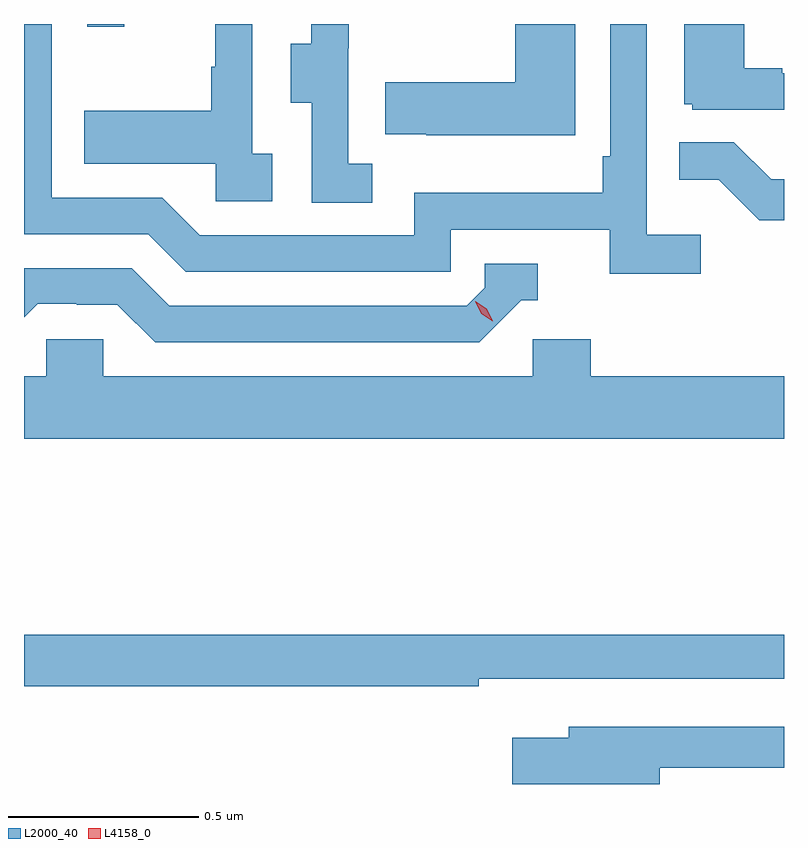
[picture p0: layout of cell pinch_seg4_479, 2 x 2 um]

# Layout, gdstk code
import gdstk
lib = gdstk.Library(unit=1e-6, precision=1e-09)
def R(c, l, rs):  # rectangles x0, y0, x1, y1
    for r in rs: c.add(gdstk.rectangle(r[:2], r[2:], *l))
def P(c, l, *ps):  # polygons
    for p in ps: c.add(gdstk.Polygon(p, *l))
L2000_40 = (2000, 40)
L4158_0 = (4158, 0)

pinch_seg4_479 = lib.new_cell('pinch_seg4_479')
R(pinch_seg4_479, L2000_40, [(897.927,765.936,898.025,765.943)])
P(pinch_seg4_479, L2000_40, [(898.414,765.602),(898.362,765.602),(898.362,765.943),(898.264,765.943),(898.264,765.83),(898.254,765.83),(898.254,765.715),(897.919,765.715),(897.919,765.575),(898.266,765.575),(898.266,765.477),(898.414,765.477)],
  [(899.761,765.813),(899.756,765.813),(899.756,765.826),(899.656,765.826),(899.656,765.943),(899.498,765.943),(899.498,765.732),(899.52,765.732),(899.52,765.717),(899.761,765.717)],
  [(899.212,765.943),(899.054,765.943),(899.054,765.79),(898.711,765.79),(898.711,765.653),(898.819,765.653),(898.819,765.65),(899.212,765.65)],
  [(898.678,765.575),(898.614,765.575),(898.614,765.879),(898.616,765.879),(898.616,765.943),(898.517,765.943),(898.517,765.891),(898.463,765.891),(898.463,765.736),(898.518,765.736),(898.518,765.472),(898.678,765.472)],
  [(899.542,765.388),(899.4,765.388),(899.4,765.943),(899.304,765.943),(899.304,765.595),(899.284,765.595),(899.284,765.499),(898.788,765.499),(898.788,765.387),(898.224,765.387),(898.125,765.486),(897.834,765.486),(897.834,765.943),(897.761,765.943),(897.761,765.39),(898.088,765.39),(898.187,765.291),(898.884,765.291),(898.884,765.402),(899.303,765.402),(899.303,765.286),(899.542,765.286)],
  [(899.761,765.534),(899.727,765.534),(899.629,765.632),(899.485,765.632),(899.485,765.533),(899.589,765.533),(899.696,765.426),(899.761,765.426)],
  [(899.07,765.216),(899.113,765.216),(899.113,765.312),(898.974,765.312),(898.974,765.249),(898.926,765.201),(898.143,765.201),(898.044,765.3),(897.761,765.3),(897.761,765.171),(897.797,765.207),(897.9,765.207),(897.9,765.204),(898.007,765.204),(898.106,765.105),(898.959,765.105)],
  [(899.761,765.016),(899.252,765.016),(899.252,765.114),(899.1,765.114),(899.1,765.016),(897.969,765.016),(897.969,765.114),(897.819,765.114),(897.819,765.016),(897.761,765.016),(897.761,764.852),(899.761,764.852)],
  [(898.958,764.22),(899.761,764.22),(899.761,764.336),(897.761,764.336),(897.761,764.2),(898.958,764.2)],
  [(899.434,763.986),(899.761,763.986),(899.761,764.094),(899.195,764.094),(899.195,764.065),(899.046,764.065),(899.046,763.943),(899.434,763.943)])
P(pinch_seg4_479, L4158_0, [(898.995,765.161),(898.964,765.18),(898.948,765.213),(898.948,765.213),(898.948,765.213),(898.979,765.194),(898.995,765.161),(898.995,765.161)])

lib.write_gds('pinch_seg4_479.gds')
